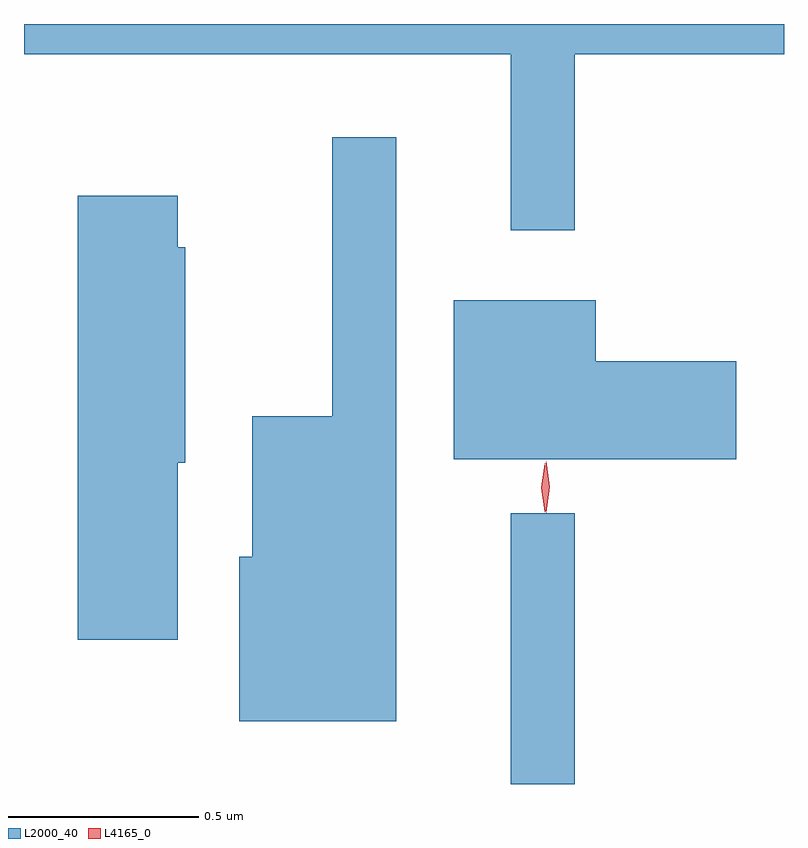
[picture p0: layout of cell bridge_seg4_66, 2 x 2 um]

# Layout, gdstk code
import gdstk
lib = gdstk.Library(unit=1e-6, precision=1e-09)
def R(c, l, rs):  # rectangles x0, y0, x1, y1
    for r in rs: c.add(gdstk.rectangle(r[:2], r[2:], *l))
def P(c, l, *ps):  # polygons
    for p in ps: c.add(gdstk.Polygon(p, *l))
L2000_40 = (2000, 40)
L4165_0 = (4165, 0)

bridge_seg4_66 = lib.new_cell('bridge_seg4_66')
R(bridge_seg4_66, L2000_40, [(1617.571,1270.616,1617.739,1271.328)])
P(bridge_seg4_66, L2000_40, [(1617.739,1272.536),(1618.29,1272.536),(1618.29,1272.616),(1616.29,1272.616),(1616.29,1272.536),(1617.571,1272.536),(1617.571,1272.073),(1617.739,1272.073)],
  [(1617.269,1272.318),(1617.101,1272.318),(1617.101,1271.584),(1616.891,1271.584),(1616.891,1271.214),(1616.856,1271.214),(1616.856,1270.781),(1617.269,1270.781)],
  [(1616.694,1271.461),(1616.714,1271.461),(1616.714,1272.029),(1616.694,1272.029),(1616.694,1272.164),(1616.431,1272.164),(1616.431,1270.996),(1616.694,1270.996)],
  [(1618.164,1271.729),(1617.794,1271.729),(1617.794,1271.889),(1617.421,1271.889),(1617.421,1271.471),(1618.164,1271.471)])
P(bridge_seg4_66, L4165_0, [(1617.664,1271.33),(1617.664,1271.33),(1617.654,1271.398),(1617.664,1271.465),(1617.664,1271.466),(1617.664,1271.465),(1617.674,1271.398),(1617.664,1271.33)],
  [(1617.661,1271.333),(1617.661,1271.333),(1617.651,1271.396),(1617.66,1271.459),(1617.661,1271.46),(1617.661,1271.459),(1617.671,1271.396),(1617.662,1271.333)])

lib.write_gds('bridge_seg4_66.gds')
